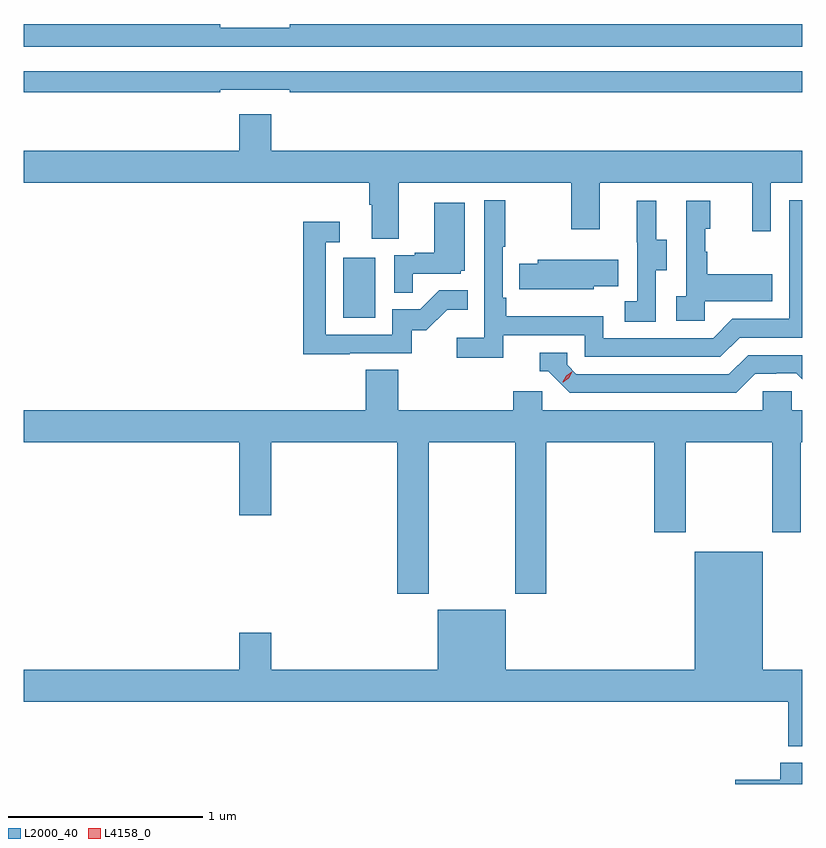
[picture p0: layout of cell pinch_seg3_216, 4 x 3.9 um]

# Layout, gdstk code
import gdstk
lib = gdstk.Library(unit=1e-6, precision=1e-09)
def R(c, l, rs):  # rectangles x0, y0, x1, y1
    for r in rs: c.add(gdstk.rectangle(r[:2], r[2:], *l))
def P(c, l, *ps):  # polygons
    for p in ps: c.add(gdstk.Polygon(p, *l))
L2000_40 = (2000, 40)
L4158_0 = (4158, 0)

pinch_seg3_216 = lib.new_cell('pinch_seg3_216')
R(pinch_seg3_216, L2000_40, [(920.786,738.852,920.95,739.159)])
P(pinch_seg3_216, L2000_40, [(923.145,740.36),(920.512,740.36),(920.512,740.341),(920.156,740.341),(920.156,740.36),(919.145,740.36),(919.145,740.244),(923.145,740.244)],
  [(920.156,740.022),(920.512,740.022),(920.512,740.01),(923.145,740.01),(923.145,740.118),(919.145,740.118),(919.145,740.01),(920.156,740.01)],
  [(921.073,739.544),(921.958,739.544),(921.958,739.305),(922.105,739.305),(922.105,739.544),(922.886,739.544),(922.886,739.296),(922.983,739.296),(922.983,739.544),(923.145,739.544),(923.145,739.708),(920.416,739.708),(920.416,739.897),(920.252,739.897),(920.252,739.708),(919.145,739.708),(919.145,739.544),(920.921,739.544),(920.921,739.432),(920.933,739.432),(920.933,739.258),(921.073,739.258)],
  [(921.608,738.762),(922.026,738.762),(922.026,738.651),(922.723,738.651),(922.822,738.75),(923.145,738.75),(923.145,739.455),(923.076,739.455),(923.076,738.846),(922.785,738.846),(922.686,738.747),(922.122,738.747),(922.122,738.859),(921.623,738.859),(921.623,738.955),(921.606,738.955),(921.606,739.216),(921.619,739.216),(921.619,739.456),(921.51,739.456),(921.51,738.748),(921.369,738.748),(921.369,738.646),(921.608,738.646)],
  [(922.392,739.096),(922.447,739.096),(922.447,739.251),(922.393,739.251),(922.393,739.453),(922.295,739.453),(922.295,739.239),(922.296,739.239),(922.296,738.935),(922.233,738.935),(922.233,738.832),(922.392,738.832)],
  [(922.644,738.935),(922.991,738.935),(922.991,739.075),(922.657,739.075),(922.657,739.19),(922.647,739.19),(922.647,739.308),(922.672,739.308),(922.672,739.453),(922.548,739.453),(922.548,738.962),(922.497,738.962),(922.497,738.837),(922.644,738.837)],
  [(921.143,739.077),(921.39,739.077),(921.39,739.092),(921.412,739.092),(921.412,739.441),(921.254,739.441),(921.254,739.186),(921.155,739.186),(921.155,739.173),(921.048,739.173),(921.048,738.979),(921.143,738.979)],
  [(920.819,738.669),(921.138,738.669),(921.138,738.786),(921.214,738.786),(921.321,738.893),(921.425,738.893),(921.425,738.992),(921.281,738.992),(921.183,738.894),(921.039,738.894),(921.039,738.765),(920.697,738.765),(920.697,739.239),(920.77,739.239),(920.77,739.345),(920.581,739.345),(920.581,738.664),(920.819,738.664)],
  [(922.074,739.013),(922.199,739.013),(922.199,739.15),(921.785,739.15),(921.785,739.128),(921.691,739.128),(921.691,738.999),(921.802,738.999),(921.802,738.998),(922.074,738.998)],
  [(922.903,738.564),(923.01,738.564),(923.01,738.567),(923.113,738.567),(923.145,738.535),(923.145,738.66),(922.866,738.66),(922.767,738.561),(921.984,738.561),(921.936,738.609),(921.936,738.672),(921.797,738.672),(921.797,738.576),(921.84,738.576),(921.951,738.465),(922.804,738.465)],
  [(921.225,738.212),(921.67,738.212),(921.67,737.433),(921.83,737.433),(921.83,738.212),(922.385,738.212),(922.385,737.751),(922.545,737.751),(922.545,738.212),(922.99,738.212),(922.99,737.751),(923.137,737.751),(923.137,738.212),(923.145,738.212),(923.145,738.376),(923.091,738.376),(923.091,738.474),(922.941,738.474),(922.941,738.376),(921.81,738.376),(921.81,738.474),(921.659,738.474),(921.659,738.376),(921.068,738.376),(921.068,738.584),(920.903,738.584),(920.903,738.376),(919.145,738.376),(919.145,738.212),(920.252,738.212),(920.252,737.838),(920.416,737.838),(920.416,738.212),(921.065,738.212),(921.065,737.433),(921.225,737.433)],
  [(923.145,737.044),(922.942,737.044),(922.942,737.65),(922.592,737.65),(922.592,737.044),(921.622,737.044),(921.622,737.353),(921.272,737.353),(921.272,737.044),(920.416,737.044),(920.416,737.233),(920.252,737.233),(920.252,737.044),(919.145,737.044),(919.145,736.88),(923.071,736.88),(923.071,736.652),(923.145,736.652)],
  [(923.145,736.567),(923.03,736.567),(923.03,736.479),(922.8,736.479),(922.8,736.457),(923.145,736.457)])
P(pinch_seg3_216, L4158_0, [(921.915,738.521),(921.915,738.522),(921.931,738.554),(921.961,738.573),(921.962,738.573),(921.962,738.573),(921.946,738.541),(921.916,738.521)])

lib.write_gds('pinch_seg3_216.gds')
